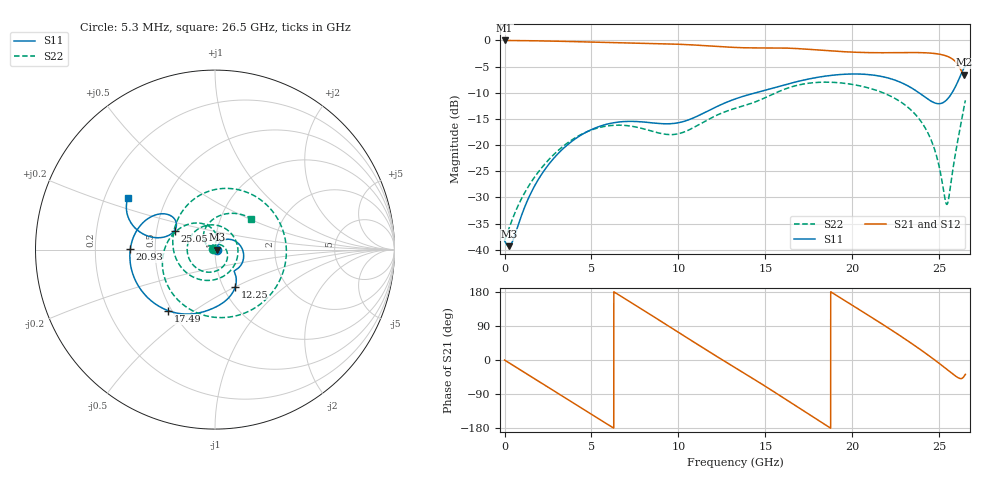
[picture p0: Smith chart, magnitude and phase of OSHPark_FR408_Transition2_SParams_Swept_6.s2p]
! TOUCHSTONE file generated by CST MICROWAVE STUDIO
! Date and time: Tue Jan  7 09:43:10 2020
! Project name: OSHPark_FR408_Transition2.cst
! Parameters = {GND_Plane_XMax=12.75; Cap_Disk_XOffset=0; Cap_Disk2_YCenter=-1.03; Cap_Disk_YCenter=1.03; Cap_Disk_XCenter=7.39; Cap_Disk_Radius=0.5; BottomSupport_Left_YMax=4.76; BottomSupport_Left_YMin=3.74; BottomSupport_Right_YMax=-3.74; BottomSupport_Right_YMin=-4.76; BottomSupport_XMax=11.64; 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
! Header version: 2015
! Port assignment regex: !\s*Touchstone port\s*([0-9]+)\s*=\s*CST MWS port\s*([0-9]+)\s*\(\"(.*)\"\)(\s*mode\s*([0-9]+))?.*
! Touchstone port assignment:
! Touchstone port 1 = CST MWS port 1 ("")
! Touchstone port 2 = CST MWS port 2 ("")
# GHz S MA R 50
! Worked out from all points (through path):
!   5000 points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, 5.3 MHz to 26.5 GHz, reference 50 ohm
!   highest |S21| = 0.00 dB at 5.3 MHz (marker M1); lowest = -6.6 dB at 26.43 GHz (marker M2)
!   group delay of S21, straight-line fit = 80.6 ps
!   lowest |S11| = -39.3 dB at 243.8 MHz (marker M3), VSWR 1.02, Z = 51.1 + j0.0197 ohm
!   |S11| at or under -10 dB: start of sweep to 14.44 GHz; 23.83 GHz to 25.73 GHz (1.901 GHz wide, 7.67 % of centre)
!   |S22| runs from -38.1 to -8.0 dB; largest |S21 - S12| = 0
!   S11 on the Smith chart (normalised r, x): 5.3 MHz: 1.02, -0.01; 12.25 GHz: 1.14, -0.50; 17.49 GHz: 0.48, -0.40; 20.93 GHz: 0.36, +0.00; 25.05 GHz: 0.62, +0.14; 26.5 GHz: 0.30, +0.26
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0.0053  0.01216 -23.4  0.9999 -0.2  0.9999 -0.2  0.01243 153.9
0.2438  0.01083 1.0  0.9993 -7.0  0.9993 -7.0  0.0158 125.1
2.4645  0.063 51.2  0.988 -70.8  0.988 -70.8  0.07028 -13.8
4.4255  0.1255 20.7  0.9706 -127.0  0.9706 -127.0  0.1269 -98.9
5.5226  0.1522 0.9  0.9598 -158.3  0.9598 -158.3  0.1482 -143.0
6.5561  0.1661 -17.0  0.9507 172.3  0.9507 172.3  0.1551 174.9
8.8404  0.1611 -44.8  0.9332 106.7  0.9332 106.7  0.1309 65.9
10.3509  0.1692 -49.5  0.9147 62.8  0.9147 62.8  0.134 -26.5
12.2536  0.2353 -61.2  0.8762 8.0  0.8762 8.0  0.1948 -127.7
13.2553  0.2759 -73.0  0.8573 -20.2  0.8573 -20.2  0.2244 -169.8
15.4866  0.3521 -100.5  0.8498 -83.7  0.8498 -83.7  0.3098 109.0
17.49  0.4283 -127.3  0.8229 -143.2  0.8229 -143.2  0.3904 22.8
17.6702  0.4342 -130.0  0.8189 -148.5  0.8189 -148.5  0.3936 14.7
19.4298  0.4742 -156.7  0.782 160.6  0.782 160.6  0.3915 -61.9
20.9297  0.4719 179.8  0.7653 117.7  0.7653 117.7  0.3517 -122.8
22.0851  0.4365 162.0  0.7634 83.9  0.7634 83.9  0.2998 -167.6
24.0196  0.3005 142.4  0.7643 24.1  0.7643 24.1  0.1619 116.3
25.0531  0.2493 154.7  0.7367 -10.9  0.7367 -10.9  0.05587 81.1
25.4877  0.2777 164.3  0.7023 -26.5  0.7023 -26.5  0.02819 127.0
26.1025  0.4168 167.5  0.577 -47.3  0.577 -47.3  0.1203 119.6
26.4258  0.5471 154.5  0.4698 -42.9  0.4698 -42.9  0.2341 59.0
26.5  0.5651 148.7  0.4865 -37.8  0.4865 -37.8  0.2676 39.3
